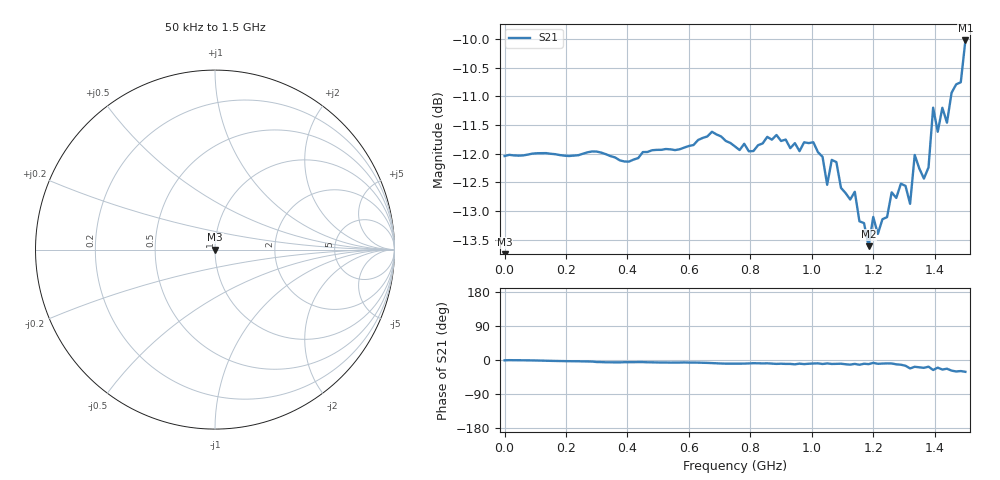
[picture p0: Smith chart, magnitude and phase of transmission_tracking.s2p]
! Created with skrf 1.8.0 (http://scikit-rf.org).
# Hz S RI R 50.0
!freq ReS11 ImS11 ReS21 ImS21 ReS12 ImS12 ReS22 ImS22
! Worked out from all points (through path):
!   101 points, 50 kHz to 1.5 GHz, reference 50 ohm
!   highest |S21| = -10.02 dB at 1.5 GHz (marker M1); lowest = -13.6 dB at 1.185 GHz (marker M2)
!   group delay of S21, straight-line fit = 36.2 ps
!   lowest |S11| = - dB at 50 kHz (marker M3), VSWR 1.00, Z = 50 + j0 ohm
!   |S11| at or under -10 dB: start of sweep to end of sweep
!   S12 and S22 are empty: the file has one direction only
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50000  0 0  0.2499 -0.00402  0 0  0 0
2.550415e8  0 0  0.2506 -0.016  0 0  0 0
5.10033e8  0 0  0.2514 -0.0294  0 0  0 0
7.50025e8  0 0  0.2512 -0.0427  0 0  0 0
1.005016e9  0 0  0.2537 -0.0412  0 0  0 0
1.050015e9  0 0  0.233 -0.037  0 0  0 0
1.065014e9  0 0  0.2439 -0.0449  0 0  0 0
1.140012e9  0 0  0.2289 -0.0414  0 0  0 0
1.18501e9  0 0  0.2048 -0.0393  0 0  0 0
1.20001e9  0 0  0.2192 -0.0291  0 0  0 0
1.260008e9  0 0  0.2294 -0.0369  0 0  0 0
1.320006e9  0 0  0.2101 -0.0861  0 0  0 0
1.335006e9  0 0  0.2384 -0.0769  0 0  0 0
1.365004e9  0 0  0.2235 -0.0844  0 0  0 0
1.380004e9  0 0  0.2329 -0.0739  0 0  0 0
1.395004e9  0 0  0.2468 -0.1224  0 0  0 0
1.410003e9  0 0  0.2465 -0.0902  0 0  0 0
1.425002e9  0 0  0.2491 -0.1174  0 0  0 0
1.440002e9  0 0  0.2461 -0.1043  0 0  0 0
1.455002e9  0 0  0.2506 -0.1334  0 0  0 0
1.485e9  0 0  0.2531 -0.1414  0 0  0 0
1.5e9  0 0  0.2697 -0.1635  0 0  0 0
